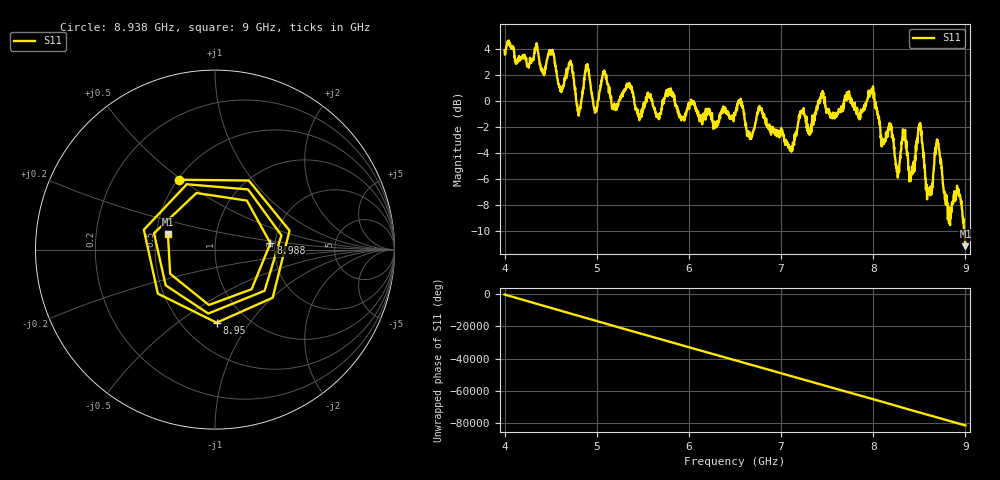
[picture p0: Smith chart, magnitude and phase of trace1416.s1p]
! Created with skrf 1.8.0 (http://scikit-rf.org).
# Hz S RI R 50.0
!freq ReS11 ImS11
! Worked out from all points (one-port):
!   1601 points, 4 GHz to 9 GHz, reference 50 ohm
!   lowest |S11| = -11.2 dB at 9 GHz (marker M1), VSWR 1.76, Z = 28.9 + j5.28 ohm
!   |S11| at or under -10 dB: 8.986501 GHz to end of sweep
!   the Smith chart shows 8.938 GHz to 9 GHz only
!   S11 on the Smith chart (normalised r, x): 8.938 GHz: 0.51, +0.49; 8.95 GHz: 0.73, -0.71; 8.988 GHz: 1.89, +0.15; 9 GHz: 0.58, +0.11
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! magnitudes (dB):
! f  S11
! 4 GHz  3.9
! 4.506 GHz  3.6
! 4.625 GHz  1.0
! 4.709 GHz  2.9
! 4.803 GHz  -1.1
! 4.894 GHz  2.8
! 4.981 GHz  -0.9
! 5.078 GHz  2.3
! 5.25 GHz  0.0
! 5.875 GHz  -0.5
! 6.5 GHz  -1.1
! 7.125 GHz  -3.6
! 7.434 GHz  0.4
! 7.75 GHz  0.2
! 7.991 GHz  0.8
! 8.194 GHz  -2.1
! 8.259 GHz  -5.4
! 8.328 GHz  -2.5
! 8.375 GHz  -4.4
! 8.416 GHz  -5.6
! 8.509 GHz  -1.7
! 8.597 GHz  -7.1
! 8.694 GHz  -3.0
! 8.825 GHz  -8.9
! 8.938 GHz  -7.2
! 8.95 GHz  -7.8
! 8.988 GHz  -10.2
! 9 GHz  -11.2
